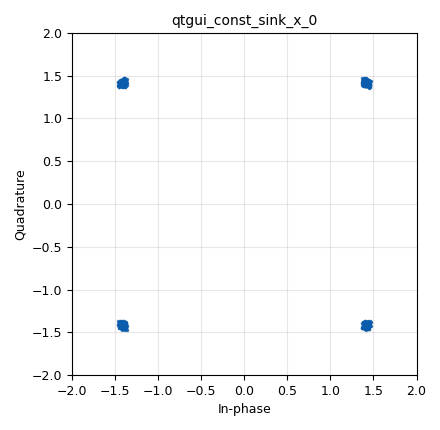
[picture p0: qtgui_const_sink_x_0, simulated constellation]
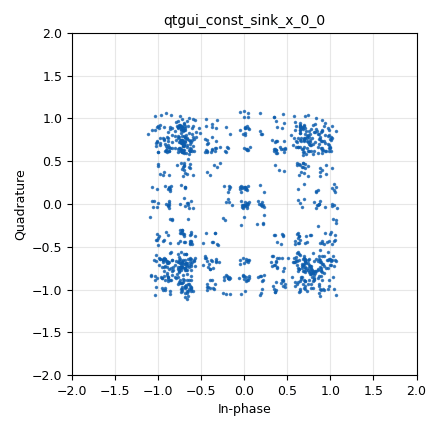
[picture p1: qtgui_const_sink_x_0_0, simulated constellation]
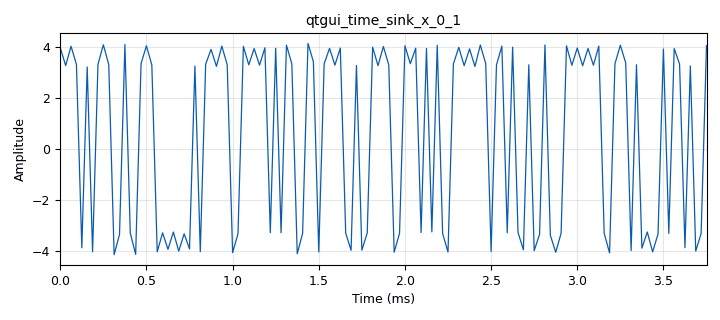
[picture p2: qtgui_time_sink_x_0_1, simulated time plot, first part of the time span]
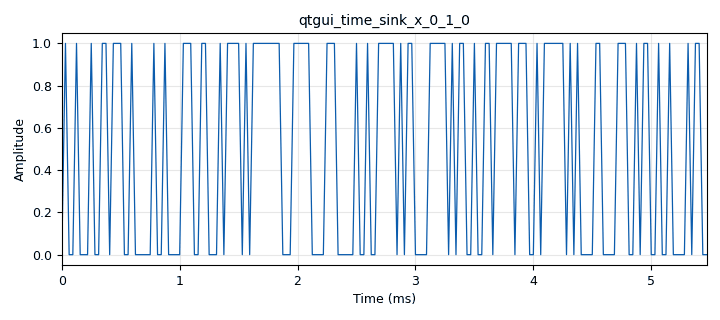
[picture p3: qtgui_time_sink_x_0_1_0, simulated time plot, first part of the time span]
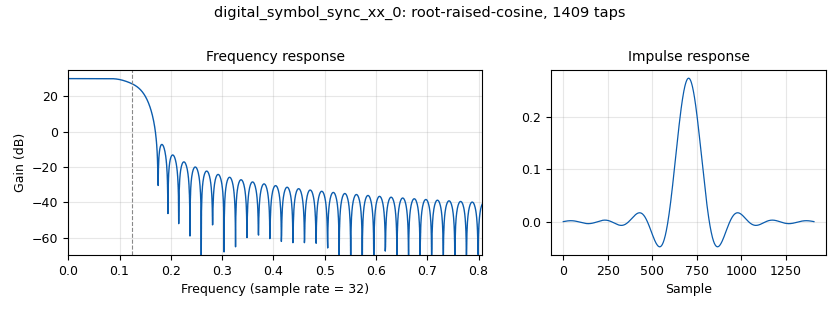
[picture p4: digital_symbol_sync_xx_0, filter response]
options:
  parameters:
    author: arosh
    generate_options: qt_gui
    id: attempt_4
    output_language: python
    title: Not titled yet
  states: {}

blocks:
- name: access_key
  id: variable
  parameters:
    value: '''11100001010110101110100010010011'''
  states: {}
- name: delay
  id: variable_qtgui_range
  parameters:
    comment: 0,3,1,1
    gui_hint: 0,3,1,1
    label: Delay
    start: '0'
    step: '1'
    stop: '200'
    value: '50'
  states: {}
- name: excess_bw
  id: variable
  parameters:
    value: '0.35'
  states: {}
- name: freq_offset
  id: variable_qtgui_range
  parameters:
    comment: 0,2,1,1
    gui_hint: 0,2,1,1
    label: 'Channel: Frequency Offset'
    start: '-0.1'
    step: '0.001'
    stop: '0.1'
    value: '0'
  states: {}
- name: hdr_format
  id: variable
  parameters:
    comment: header_format_default
    value: digital.header_format_default(access_key, 0)
  states: {}
- name: nfilts
  id: variable
  parameters:
    value: '32'
  states: {}
- name: noise_volt
  id: variable_qtgui_range
  parameters:
    comment: 0,0,1,1
    gui_hint: 0,0,1,1
    label: 'Channel: Noise Voltage'
    start: '0'
    step: '0.01'
    stop: '1'
    value: '0'
  states: {}
- name: phase_bw
  id: variable
  parameters:
    value: '0.0628'
  states: {}
- name: qpsk
  id: variable_constellation_rect
  parameters:
    const_points: '[0.707+0.707j, -0.707+0.707j, -0.707-0.707j, 0.707-0.707j]'
    imag_sect: '2'
    real_sect: '2'
    rot_sym: '4'
    sym_map: '[0, 1, 2, 3]'
    w_imag_sect: '1'
    w_real_sect: '1'
  states: {}
- name: rrc_taps
  id: variable
  parameters:
    value: firdes.root_raised_cosine(nfilts, nfilts, 1.0/float(sps), 0.35, 11*sps*nfilts)
  states: {}
- name: samp_rate
  id: variable
  parameters:
    value: '32000'
  states: {}
- name: samp_rate_0
  id: variable
  parameters:
    value: '32000'
  states: {}
- name: samp_rate_1
  id: variable
  parameters:
    value: '32000'
  states: {}
- name: sps
  id: variable
  parameters:
    value: '4'
  states: {}
- name: time_offset
  id: variable_qtgui_range
  parameters:
    comment: 0,1,1,1
    gui_hint: 0,1,1,1
    label: 'Channel: Timing Offset'
    start: '0.999'
    step: '0.0001'
    stop: '1.001'
    value: '1.000'
  states: {}
- name: variable_adaptive_algorithm_0
  id: variable_adaptive_algorithm
  parameters:
    cons: qpsk
    modulus: '4'
    step_size: '.0001'
    type: cma
  states: {}
- name: analog_random_source_x_0
  id: analog_random_source_x
  parameters:
    max: '255'
    min: '0'
    num_samps: '10000'
    repeat: 'True'
    type: byte
  states: {}
- name: blocks_char_to_float_0
  id: blocks_char_to_float
  parameters:
    scale: '1'
  states: {}
- name: blocks_file_sink_0
  id: blocks_file_sink
  parameters:
    file: C:\Users\PC\University\Semester_3\EN2130_Communication Design Project\Project\apple2.txt
    type: byte
    unbuffered: 'True'
  states: {}
- name: blocks_file_sink_0_0
  id: blocks_file_sink
  parameters:
    file: C:\Users\PC\University\Semester_3\EN2130_Communication Design Project\Project\apple3.txt
    type: byte
    unbuffered: 'True'
  states: {}
- name: blocks_file_source_0
  id: blocks_file_source
  parameters:
    file: C:\Users\PC\University\Semester_3\EN2130_Communication Design Project\Project\apple.txt
    repeat: 'False'
    type: byte
  states: {state: disabled}
- name: blocks_message_debug_0
  id: blocks_message_debug
  parameters: {}
  states: {}
- name: blocks_message_debug_0_0
  id: blocks_message_debug
  parameters: {}
  states: {state: disabled}
- name: blocks_pack_k_bits_bb_0
  id: blocks_pack_k_bits_bb
  parameters:
    k: '8'
  states: {}
- name: blocks_stream_to_tagged_stream_0
  id: blocks_stream_to_tagged_stream
  parameters:
    len_tag_key: packet_len
    packet_len: '252'
    type: byte
  states: {}
- name: blocks_stream_to_tagged_stream_1
  id: blocks_stream_to_tagged_stream
  parameters:
    len_tag_key: '"packet_len"'
    packet_len: '256'
    type: byte
  states: {}
- name: blocks_throttle2_0_1
  id: blocks_throttle2
  parameters:
    samples_per_second: samp_rate
    type: complex
  states: {}
- name: blocks_unpack_k_bits_bb_0
  id: blocks_unpack_k_bits_bb
  parameters:
    comment: unpack 2 bits per symbol into bits
    k: '2'
  states: {}
- name: channels_channel_model_0
  id: channels_channel_model
  parameters:
    comment: Epsilon is the time offset
    epsilon: time_offset
    freq_offset: freq_offset
    noise_voltage: noise_volt
    seed: '0'
    taps: '1'
  states: {}
- name: digital_constellation_decoder_cb_0
  id: digital_constellation_decoder_cb
  parameters:
    comment: |-
      Decode a constellation's points from 
      a complex space to index of constellation 
      symbol based on the map of the  object.
    constellation: qpsk
  states: {}
- name: digital_constellation_modulator_0
  id: digital_constellation_modulator
  parameters:
    constellation: qpsk
    differential: 'True'
    excess_bw: excess_bw
    samples_per_symbol: sps
  states: {}
- name: digital_constellation_soft_decoder_cf_0
  id: digital_constellation_soft_decoder_cf
  parameters:
    constellation: qpsk
    npwr: '0'
  states: {}
- name: digital_costas_loop_cc_0_0
  id: digital_costas_loop_cc
  parameters:
    order: '4'
    w: phase_bw
  states: {}
- name: digital_crc_append_0
  id: digital_crc_append
  parameters:
    poly: '0x4C11DB7'
  states: {}
- name: digital_crc_check_0
  id: digital_crc_check
  parameters:
    poly: '0x4C11DB7'
  states: {}
- name: digital_diff_decoder_bb_0
  id: digital_diff_decoder_bb
  parameters:
    coding: digital.DIFF_DIFFERENTIAL
    comment: |-
      translate the differential coded symbols
       back to their original symbols
    modulus: '4'
  states: {}
- name: digital_linear_equalizer_0
  id: digital_linear_equalizer
  parameters:
    alg: variable_adaptive_algorithm_0
    num_taps: '4'
    sps: '2'
  states: {}
- name: digital_map_bb_0
  id: digital_map_bb
  parameters:
    comment: |-
      convert the symbols 
      from the differential decoder to the 
      original symbols we transmitted.
    map: '[0,1,2,3]'
  states: {}
- name: digital_symbol_sync_xx_0
  id: digital_symbol_sync_xx
  parameters:
    damping: '1.0'
    loop_bw: phase_bw
    max_dev: '1.5'
    nfilters: '32'
    osps: '2'
    pfb_mf_taps: rrc_taps
    resamp_type: digital.IR_PFB_MF
    sps: sps
    ted_gain: '1.0'
    ted_type: digital.TED_SIGNAL_TIMES_SLOPE_ML
    type: cc
  states: {}
- name: epy_block_3
  id: epy_block
  parameters:
    _source_code: |
      import pmt
      import time
      from gnuradio import gr

      class stop_and_wait_tx(gr.basic_block):
          def __init__(self, timeout=0.5):
              gr.basic_block.__init__(self,
                  name="Stop-and-Wait TX",
                  in_sig=[],
                  out_sig=[]
              )
              # Message ports
              self.message_port_register_in(pmt.intern("in"))    # Data to send
              self.message_port_register_in(pmt.intern("ack"))   # ACK/NACK input
              self.message_port_register_out(pmt.intern("out"))  # Transmit PDU

              self.set_msg_handler(pmt.intern("in"), self.handle_new_packet)
              self.set_msg_handler(pmt.intern("ack"), self.handle_ack)

              self.last_packet = None
              self.waiting_ack = False
              self.timeout = timeout
              self.last_send_time = 0

          def handle_new_packet(self, msg):
              if not self.waiting_ack:
                  self.last_packet = msg
                  self.send_packet(msg)

          def handle_ack(self, msg):
              # Check if msg is ACK or NACK
              meta = pmt.car(msg)
              if pmt.dict_has_key(meta, pmt.intern("ack")):
                  seq = pmt.to_long(pmt.dict_ref(meta, pmt.intern("ack"), pmt.PMT_NIL))
                  print("ACK received for seq:", seq)
                  self.waiting_ack = False
              elif pmt.dict_has_key(meta, pmt.intern("nack")):
                  seq = pmt.to_long(pmt.dict_ref(meta, pmt.intern("nack"), pmt.PMT_NIL))
                  print("NACK received for seq:", seq)
                  # Retransmit immediately
                  self.send_packet(self.last_packet)

          def send_packet(self, msg):
              self.message_port_pub(pmt.intern("out"), msg)
              self.waiting_ack = True
              self.last_send_time = time.time()

          def work(self, input_items, output_items):
              # Check timeout
              if self.waiting_ack and time.time() - self.last_send_time > self.timeout:
                  print("Timeout! Retransmitting...")
                  self.send_packet(self.last_packet)
              return 0
    timeout: '0.5'
  states: {state: disabled}
- name: pdu_pdu_to_tagged_stream_1
  id: pdu_pdu_to_tagged_stream
  parameters:
    tag: packet_len
    type: byte
  states: {}
- name: pdu_pdu_to_tagged_stream_1_0
  id: pdu_pdu_to_tagged_stream
  parameters:
    tag: packet_len
    type: byte
  states: {}
- name: pdu_pdu_to_tagged_stream_1_0_0
  id: pdu_pdu_to_tagged_stream
  parameters:
    tag: packet_len
    type: byte
  states: {}
- name: pdu_tagged_stream_to_pdu_1
  id: pdu_tagged_stream_to_pdu
  parameters:
    tag: packet_len
    type: byte
  states: {}
- name: pdu_tagged_stream_to_pdu_1_0
  id: pdu_tagged_stream_to_pdu
  parameters:
    tag: packet_len
    type: byte
  states: {}
- name: qtgui_const_sink_x_0
  id: qtgui_const_sink_x
  parameters:
    size: '1024'
    type: complex
  states: {}
- name: qtgui_const_sink_x_0_0
  id: qtgui_const_sink_x
  parameters:
    size: '1024'
    type: complex
  states: {}
- name: qtgui_time_sink_x_0_1
  id: qtgui_time_sink_x
  parameters:
    autoscale: 'True'
    size: '1024'
    srate: samp_rate
    type: float
  states: {}
- name: qtgui_time_sink_x_0_1_0
  id: qtgui_time_sink_x
  parameters:
    autoscale: 'True'
    size: '1024'
    srate: samp_rate
    type: float
  states: {}

connections:
- [analog_random_source_x_0, '0', blocks_stream_to_tagged_stream_0, '0']
- [blocks_char_to_float_0, '0', qtgui_time_sink_x_0_1_0, '0']
- [blocks_file_source_0, '0', blocks_stream_to_tagged_stream_0, '0']
- [blocks_pack_k_bits_bb_0, '0', blocks_stream_to_tagged_stream_1, '0']
- [blocks_stream_to_tagged_stream_0, '0', pdu_tagged_stream_to_pdu_1, '0']
- [blocks_stream_to_tagged_stream_1, '0', pdu_tagged_stream_to_pdu_1_0, '0']
- [blocks_throttle2_0_1, '0', channels_channel_model_0, '0']
- [blocks_unpack_k_bits_bb_0, '0', blocks_char_to_float_0, '0']
- [blocks_unpack_k_bits_bb_0, '0', blocks_pack_k_bits_bb_0, '0']
- [channels_channel_model_0, '0', digital_symbol_sync_xx_0, '0']
- [digital_constellation_decoder_cb_0, '0', digital_diff_decoder_bb_0, '0']
- [digital_constellation_modulator_0, '0', blocks_throttle2_0_1, '0']
- [digital_constellation_modulator_0, '0', qtgui_const_sink_x_0_0, '0']
- [digital_constellation_soft_decoder_cf_0, '0', qtgui_time_sink_x_0_1, '0']
- [digital_costas_loop_cc_0_0, '0', digital_constellation_decoder_cb_0, '0']
- [digital_costas_loop_cc_0_0, '0', digital_constellation_soft_decoder_cf_0, '0']
- [digital_costas_loop_cc_0_0, '0', qtgui_const_sink_x_0, '0']
- [digital_crc_append_0, out, pdu_pdu_to_tagged_stream_1, pdus]
- [digital_crc_check_0, fail, blocks_message_debug_0_0, print]
- [digital_crc_check_0, fail, pdu_pdu_to_tagged_stream_1_0_0, pdus]
- [digital_crc_check_0, ok, pdu_pdu_to_tagged_stream_1_0, pdus]
- [digital_diff_decoder_bb_0, '0', digital_map_bb_0, '0']
- [digital_linear_equalizer_0, '0', digital_costas_loop_cc_0_0, '0']
- [digital_map_bb_0, '0', blocks_unpack_k_bits_bb_0, '0']
- [digital_symbol_sync_xx_0, '0', digital_linear_equalizer_0, '0']
- [epy_block_3, out, digital_crc_append_0, in]
- [pdu_pdu_to_tagged_stream_1, '0', digital_constellation_modulator_0, '0']
- [pdu_pdu_to_tagged_stream_1_0, '0', blocks_file_sink_0, '0']
- [pdu_pdu_to_tagged_stream_1_0_0, '0', blocks_file_sink_0_0, '0']
- [pdu_tagged_stream_to_pdu_1, pdus, digital_crc_append_0, in]
- [pdu_tagged_stream_to_pdu_1, pdus, epy_block_3, in]
- [pdu_tagged_stream_to_pdu_1_0, pdus, blocks_message_debug_0, print]
- [pdu_tagged_stream_to_pdu_1_0, pdus, digital_crc_check_0, in]

metadata:
  file_format: 1
  grc_version: 3.10.12.0
